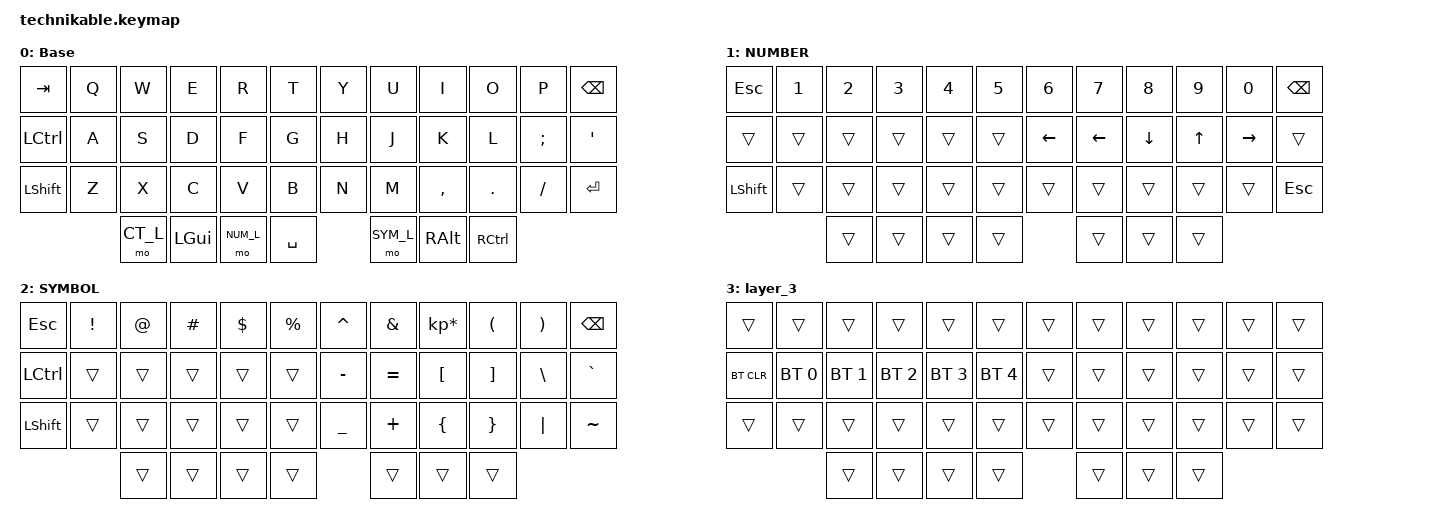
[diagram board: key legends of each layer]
/*
 * Copyright (c) 2022 Pete Johanson
 *
 * SPDX-License-Identifier: MIT
 */

#include <behaviors.dtsi>
#include <dt-bindings/zmk/bt.h>
#include <dt-bindings/zmk/keys.h>

#define QWERTY_BASE 1

//#define TBLE_ORTHO   true

#define TBLE_MIT     true

// #define TBLE_DUAL_2U true

#define BAS_L 0
#define NUM_L 1
#define SYM_L 2
#define CT_L 3

// Using layer taps on thumbs, having quick tap as well helps w/ repeating space/backspace

&lt {
    quick_tap_ms = <200>;
};

#define BT(n) BT_SEL

/ {
    chosen {
        zmk,matrix_transform = &mit_transform;
    };
};

/ {
    keymap {
        compatible = "zmk,keymap";

        base_layer {
            label = "Base";
            bindings = <
&kp TAB    &kp Q  &kp W     &kp E     &kp R      &kp T      &kp Y  &kp U      &kp I      &kp O      &kp P     &kp BACKSPACE
&kp LCTRL  &kp A  &kp S     &kp D     &kp F      &kp G      &kp H  &kp J      &kp K      &kp L      &kp SEMI  &kp SINGLE_QUOTE
&kp LSHFT  &kp Z  &kp X     &kp C     &kp V      &kp B      &kp N  &kp M      &kp COMMA  &kp DOT    &kp FSLH  &kp RET
                  &mo CT_L  &kp LGUI  &mo NUM_L  &kp SPACE         &mo SYM_L  &kp RALT   &kp RCTRL
            >;
        };

        lower_layer {
            label = "NUMBER";

            // -----------------------------------------------------------------------------------------
            // |  TAB |  1  |  2  |  3  |  4  |  5  |   |  6  |  7  |  8  |  9  |  0  | BKSP |
            // | BTCLR| BT1 | BT2 | BT3 | BT4 | BT5 |   | LFT | DWN |  UP | RGT |     |      |
            // | SHFT |     |     |     |     |     |   |     |     |     |     |     |      |
            //                    | GUI |     | SPC |   | ENT |     | ALT |

            bindings = <
&kp ESC    &kp N1  &kp N2  &kp N3  &kp N4  &kp N5  &kp N6    &kp N7    &kp N8    &kp N9  &kp N0     &kp BSPC
&trans     &trans  &trans  &trans  &trans  &trans  &kp LEFT  &kp LEFT  &kp DOWN  &kp UP  &kp RIGHT  &trans
&kp LSHFT  &trans  &trans  &trans  &trans  &trans  &trans    &trans    &trans    &trans  &trans     &kp ESC
                   &trans  &trans  &trans  &trans            &trans    &trans    &trans
            >;
        };

        raise_layer {
            label = "SYMBOL";

            // -----------------------------------------------------------------------------------------
            // |  ESC |  !  |  @  |  #  |  $  |  %  |   |  ^  |  &  |  *  |  (  |  )  | BKSP |
            // | CTRL |     |     |     |     |     |   |  -  |  =  |  [  |  ]  |  \  |  `   |
            // | SHFT |     |     |     |     |     |   |  _  |  +  |  {  |  }  | "|" |  ~   |
            //                    | GUI |     | SPC |   | ENT |     | ALT |

            bindings = <
&kp ESC    &kp EXCL  &kp AT  &kp HASH  &kp DLLR  &kp PRCNT  &kp CARET  &kp AMPS   &kp KP_MULTIPLY  &kp LPAR  &kp RPAR  &kp BSPC
&kp LCTRL  &trans    &trans  &trans    &trans    &trans     &kp MINUS  &kp EQUAL  &kp LBKT         &kp RBKT  &kp BSLH  &kp GRAVE
&kp LSHFT  &trans    &trans  &trans    &trans    &trans     &kp UNDER  &kp PLUS   &kp LBRC         &kp RBRC  &kp PIPE  &kp TILDE
                     &trans  &trans    &trans    &trans                &trans     &trans           &trans
            >;
        };

        layer_3 {
            bindings = <
&trans      &trans        &trans        &trans        &trans        &trans        &trans  &trans  &trans  &trans  &trans  &trans
&bt BT_CLR  &bt BT_SEL 0  &bt BT_SEL 1  &bt BT_SEL 2  &bt BT_SEL 3  &bt BT_SEL 4  &trans  &trans  &trans  &trans  &trans  &trans
&trans      &trans        &trans        &trans        &trans        &trans        &trans  &trans  &trans  &trans  &trans  &trans
                          &trans        &trans        &trans        &trans                &trans  &trans  &trans
            >;
        };
    };
};
